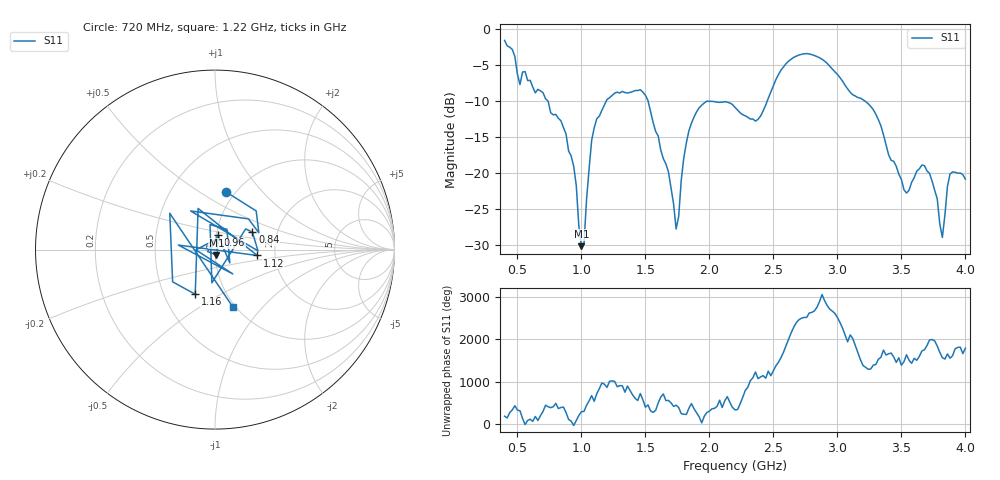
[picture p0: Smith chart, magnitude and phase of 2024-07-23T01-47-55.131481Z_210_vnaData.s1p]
!Created with skrf (http://scikit-rf.org).
# Hz S RI R 50.0
!freq ReS11 ImS11
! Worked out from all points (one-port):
!   181 points, 400 MHz to 4 GHz, reference 50 ohm
!   lowest |S11| = -30.2 dB at 1 GHz (marker M1), VSWR 1.06, Z = 50.7 - j3.05 ohm
!   |S11| at or under -10 dB: 737.4 MHz to 1.195 GHz (457.5 MHz wide, 47.4 % of centre); 1.521 GHz to 2.452 GHz (931.7 MHz wide, 46.9 % of centre); 3.213 GHz to end of sweep
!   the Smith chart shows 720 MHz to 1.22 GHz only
!   S11 on the Smith chart (normalised r, x): 720 MHz: 0.91, +0.65; 840 MHz: 1.49, +0.31; 960 MHz: 1.02, +0.16; 1.12 GHz: 1.61, -0.11; 1.16 GHz: 0.72, -0.38; 1.22 GHz: 0.97, -0.69
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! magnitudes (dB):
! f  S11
! 400 MHz  -1.6
! 520 MHz  -7.7
! 720 MHz  -9.7
! 840 MHz  -12.8
! 860 MHz  -13.7
! 960 MHz  -21.8
! 1 GHz  -30.2
! 1.08 GHz  -15.5
! 1.12 GHz  -12.5
! 1.16 GHz  -11.3
! 1.22 GHz  -9.6
! 1.3 GHz  -8.9
! 1.52 GHz  -10.0
! 1.68 GHz  -19.8
! 1.74 GHz  -27.8
! 1.76 GHz  -26.0
! 1.82 GHz  -15.8
! 1.9 GHz  -11.5
! 2.2 GHz  -10.9
! 2.38 GHz  -12.6
! 2.66 GHz  -3.9
! 3.1 GHz  -8.8
! 3.28 GHz  -11.2
! 3.56 GHz  -22.4
! 3.68 GHz  -19.0
! 3.82 GHz  -28.9
! 3.88 GHz  -20.1
! 4 GHz  -20.9
